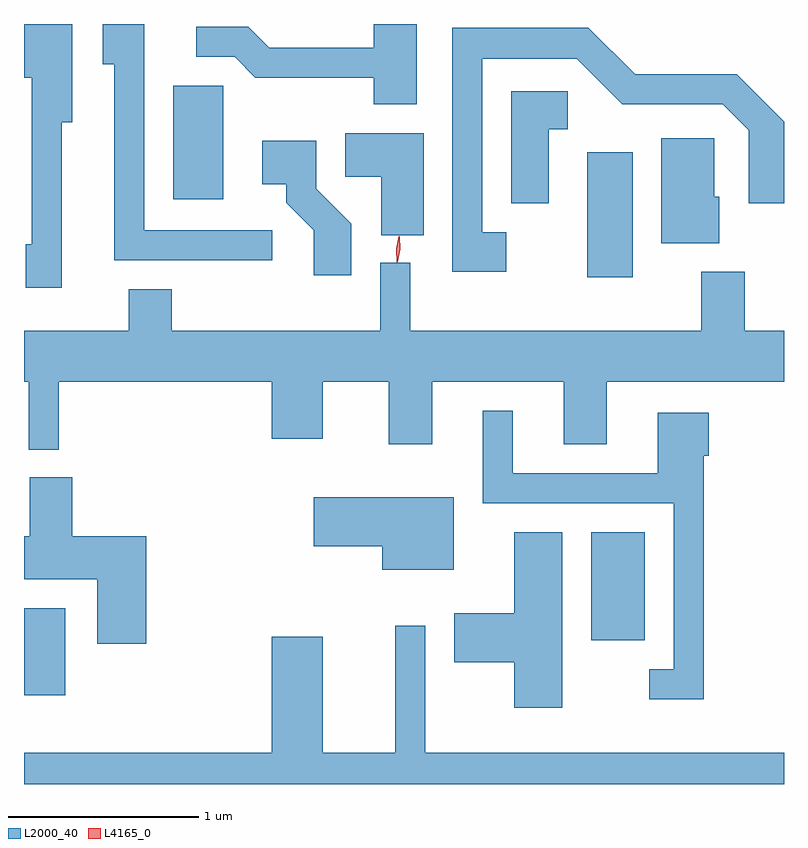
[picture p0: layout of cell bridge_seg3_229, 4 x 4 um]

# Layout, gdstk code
import gdstk
lib = gdstk.Library(unit=1e-6, precision=1e-09)
def R(c, l, rs):  # rectangles x0, y0, x1, y1
    for r in rs: c.add(gdstk.rectangle(r[:2], r[2:], *l))
def P(c, l, *ps):  # polygons
    for p in ps: c.add(gdstk.Polygon(p, *l))
L2000_40 = (2000, 40)
L4165_0 = (4165, 0)

bridge_seg3_229 = lib.new_cell('bridge_seg3_229')
R(bridge_seg3_229, L2000_40, [(953.031,1119.926,953.249,1120.384), (956.016,1120.216,956.299,1120.784), (955.996,1122.126,956.234,1122.784), (953.816,1122.536,954.079,1123.134)])
P(bridge_seg3_229, L2000_40, [(953.229,1122.941),(953.284,1122.941),(953.284,1123.459),(953.031,1123.459),(953.031,1123.176),(953.071,1123.176),(953.071,1122.299),(953.041,1122.299),(953.041,1122.071),(953.229,1122.071)],
  [(954.338,1122.374),(953.664,1122.374),(953.664,1123.459),(953.446,1123.459),(953.446,1123.246),(953.506,1123.246),(953.506,1122.216),(954.338,1122.216)],
  [(955.099,1123.459),(954.871,1123.459),(954.871,1123.334),(954.322,1123.334),(954.212,1123.444),(953.938,1123.444),(953.938,1123.286),(954.139,1123.286),(954.249,1123.176),(954.871,1123.176),(954.871,1123.036),(955.099,1123.036)],
  [(955.569,1122.364),(955.444,1122.364),(955.444,1123.276),(955.939,1123.276),(956.179,1123.036),(956.709,1123.036),(956.846,1122.899),(956.846,1122.516),(957.031,1122.516),(957.031,1122.945),(956.782,1123.194),(956.247,1123.194),(956.002,1123.439),(955.286,1123.439),(955.286,1122.156),(955.569,1122.156)],
  [(955.794,1122.906),(955.894,1122.906),(955.894,1123.104),(955.596,1123.104),(955.596,1122.516),(955.794,1122.516)],
  [(955.134,1122.884),(954.721,1122.884),(954.721,1122.656),(954.911,1122.656),(954.911,1122.346),(955.134,1122.346)],
  [(956.689,1122.549),(956.664,1122.549),(956.664,1122.859),(956.386,1122.859),(956.386,1122.306),(956.689,1122.306)],
  [(954.754,1122.407),(954.569,1122.592),(954.569,1122.844),(954.286,1122.844),(954.286,1122.616),(954.411,1122.616),(954.411,1122.519),(954.556,1122.374),(954.556,1122.136),(954.754,1122.136)],
  [(953.214,1121.576),(954.336,1121.576),(954.336,1121.276),(954.604,1121.276),(954.604,1121.576),(954.951,1121.576),(954.951,1121.246),(955.179,1121.246),(955.179,1121.576),(955.871,1121.576),(955.871,1121.246),(956.099,1121.246),(956.099,1121.576),(957.031,1121.576),(957.031,1121.844),(956.824,1121.844),(956.824,1122.154),(956.596,1122.154),(956.596,1121.844),(955.064,1121.844),(955.064,1122.203),(954.906,1122.203),(954.906,1121.844),(953.809,1121.844),(953.809,1122.064),(953.581,1122.064),(953.581,1121.844),(953.031,1121.844),(953.031,1121.576),(953.056,1121.576),(953.056,1121.218),(953.214,1121.218)],
  [(956.609,1121.186),(956.634,1121.186),(956.634,1121.414),(956.366,1121.414),(956.366,1121.094),(955.604,1121.094),(955.604,1121.423),(955.446,1121.423),(955.446,1120.936),(956.451,1120.936),(956.451,1120.064),(956.323,1120.064),(956.323,1119.906),(956.609,1119.906)],
  [(953.674,1120.764),(953.284,1120.764),(953.284,1121.074),(953.061,1121.074),(953.061,1120.764),(953.031,1120.764),(953.031,1120.536),(953.416,1120.536),(953.416,1120.196),(953.674,1120.196)],
  [(955.294,1120.969),(954.556,1120.969),(954.556,1120.711),(954.916,1120.711),(954.916,1120.586),(955.294,1120.586)],
  [(955.864,1120.784),(955.611,1120.784),(955.611,1120.359),(955.296,1120.359),(955.296,1120.101),(955.611,1120.101),(955.611,1119.861),(955.864,1119.861)],
  [(957.031,1119.624),(955.144,1119.624),(955.144,1120.293),(954.986,1120.293),(954.986,1119.624),(954.604,1119.624),(954.604,1120.234),(954.336,1120.234),(954.336,1119.624),(953.031,1119.624),(953.031,1119.459),(957.031,1119.459)])
P(bridge_seg3_229, L4165_0, [(954.996,1122.208),(954.996,1122.208),(954.992,1122.275),(955.007,1122.34),(955.007,1122.34),(955.008,1122.34),(955.012,1122.274),(954.997,1122.208)],
  [(954.994,1122.205),(954.994,1122.205),(954.989,1122.275),(955.004,1122.343),(955.004,1122.343),(955.005,1122.343),(955.009,1122.273),(954.995,1122.205)])

lib.write_gds('bridge_seg3_229.gds')
